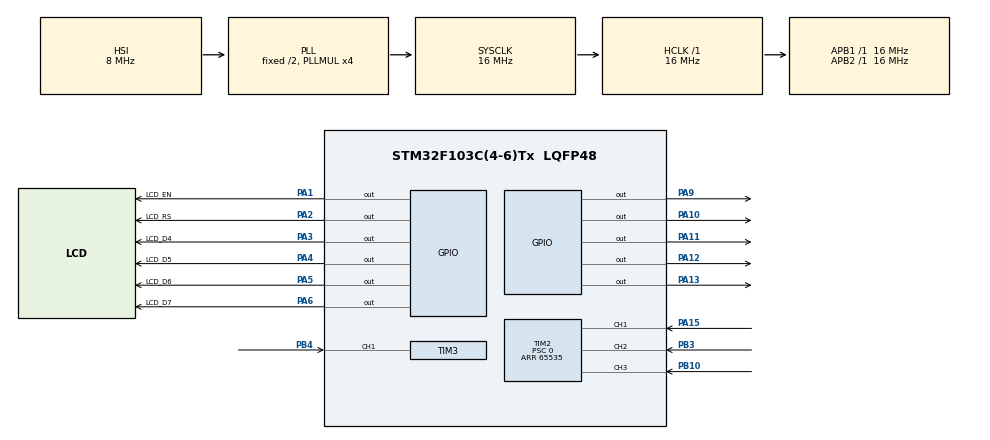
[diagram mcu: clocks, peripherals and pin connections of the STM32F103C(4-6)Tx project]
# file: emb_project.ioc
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Mcu.Family=STM32F1
Mcu.Name=STM32F103C(4-6)Tx
Mcu.Package=LQFP48
NVIC.PriorityGroup=NVIC_PRIORITYGROUP_4
NVIC.TIM2_IRQn=true\:0\:0\:false\:false\:true\:true\:true\:true
NVIC.TIM3_IRQn=true\:0\:0\:false\:false\:true\:true\:true\:true
PA1.GPIO_Label=LCD_EN
PA1.Signal=GPIO_Output
PA10.Signal=GPIO_Output
PA11.Signal=GPIO_Output
PA12.Signal=GPIO_Output
PA13.Signal=GPIO_Output
PA15.Signal=S_TIM2_CH1_ETR
PA2.GPIO_Label=LCD_RS
PA2.Signal=GPIO_Output
PA3.GPIO_Label=LCD_D4
PA3.Signal=GPIO_Output
PA4.GPIO_Label=LCD_D5
PA4.Signal=GPIO_Output
PA5.GPIO_Label=LCD_D6
PA5.Signal=GPIO_Output
PA6.GPIO_Label=LCD_D7
PA6.Signal=GPIO_Output
PA9.Signal=GPIO_Output
PB10.Signal=S_TIM2_CH3
PB3.Signal=S_TIM2_CH2
PB4.Signal=S_TIM3_CH1
PD0-OSC_IN.Mode=HSE-External-Oscillator
PD0-OSC_IN.Signal=RCC_OSC_IN
PD1-OSC_OUT.Mode=HSE-External-Oscillator
PD1-OSC_OUT.Signal=RCC_OSC_OUT
ProjectManager.HeapSize=0x200
ProjectManager.StackSize=0x400
ProjectManager.TargetToolchain=MDK-ARM V5.32
RCC.AHBFreq_Value=16000000
RCC.APB1Freq_Value=16000000
RCC.APB1TimFreq_Value=16000000
RCC.APB2Freq_Value=16000000
RCC.APB2TimFreq_Value=16000000
RCC.HCLKFreq_Value=16000000
RCC.PLLMUL=RCC_PLL_MUL4
RCC.SYSCLKFreq_VALUE=16000000
RCC.SYSCLKSource=RCC_SYSCLKSOURCE_PLLCLK
RCC.USBFreq_Value=16000000
SH.S_TIM2_CH1_ETR.0=TIM2_CH1,Input_Capture1_from_TI1
SH.S_TIM2_CH2.0=TIM2_CH2,Input_Capture2_from_TI2
SH.S_TIM2_CH3.0=TIM2_CH3,Input_Capture3_from_TI3
SH.S_TIM3_CH1.0=TIM3_CH1,Input_Capture1_from_TI1
TIM2.Channel-Input_Capture1_from_TI1=TIM_CHANNEL_1
TIM2.Channel-Input_Capture2_from_TI2=TIM_CHANNEL_2
TIM2.Channel-Input_Capture3_from_TI3=TIM_CHANNEL_3
TIM2.Period=65535
TIM2.Prescaler=0
TIM3.Channel-Input_Capture1_from_TI1=TIM_CHANNEL_1
TIM3.Period=5000-1
TIM3.Prescaler=500-1
VP_SYS_VS_ND.Mode=No_Debug
VP_TIM2_VS_ClockSourceINT.Mode=Internal
board=custom

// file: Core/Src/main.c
/* USER CODE BEGIN Header */
/**
  ******************************************************************************
  * @file           : main.c
  * @brief          : Main program body
  ******************************************************************************
  * @attention
  *
  * Copyright (c) 2024 STMicroelectronics.
  * All rights reserved.
  *
  * This software is licensed under terms that can be found in the LICENSE file
  * in the root directory of this software component.
  * If no LICENSE file comes with this software, it is provided AS-IS.
  *
  ******************************************************************************
  */
/* USER CODE END Header */
#include "main.h"

/* USER CODE BEGIN Includes */
#include "LCD.h"
#include <stdio.h>
/* USER CODE END Includes */

TIM_HandleTypeDef htim2;
TIM_HandleTypeDef htim3;

void SystemClock_Config(void);
static void MX_GPIO_Init(void);
static void MX_TIM2_Init(void);
static void MX_TIM3_Init(void);

/* USER CODE BEGIN 0 */

// Defining pins and ports for three ultrasonic sensors and one led pin

#define TRIG_PIN1    GPIO_PIN_10
#define TRIG_PORT1   GPIOA
#define ECHO_PIN1    GPIO_PIN_15
#define ECHO_PORT1   GPIOA

#define TRIG_PIN2    GPIO_PIN_11
#define TRIG_PORT2   GPIOA
#define ECHO_PIN2    GPIO_PIN_3
#define ECHO_PORT2   GPIOB

#define TRIG_PIN3    GPIO_PIN_12
#define TRIG_PORT3   GPIOA
#define ECHO_PIN3    GPIO_PIN_10
#define ECHO_PORT3   GPIOB

#define LED_PIN   GPIO_PIN_13
#define LED_PORT  GPIOA

// Sending trigger pulses to three ultrasonic sensors

void sendTriggerPulse1() {
    HAL_GPIO_WritePin(TRIG_PORT1, TRIG_PIN1, GPIO_PIN_SET);
    HAL_Delay(10);
    HAL_GPIO_WritePin(TRIG_PORT1, TRIG_PIN1, GPIO_PIN_RESET);
}

void sendTriggerPulse2() {
    HAL_Delay(10);
    HAL_GPIO_WritePin(TRIG_PORT2, TRIG_PIN2, GPIO_PIN_SET);
    HAL_Delay(10);
    HAL_GPIO_WritePin(TRIG_PORT2, TRIG_PIN2, GPIO_PIN_RESET);
}

void sendTriggerPulse3() {
    HAL_Delay(10);
    HAL_GPIO_WritePin(TRIG_PORT3, TRIG_PIN3, GPIO_PIN_SET);
    HAL_Delay(10);
    HAL_GPIO_WritePin(TRIG_PORT3, TRIG_PIN3, GPIO_PIN_RESET);
}
void updateLCD(int distance1, int distance2, int distance3)
{

}

// Initializing variables

int frontSensorDistance=0;
int frontRightSensorDistance=0;
int frontLeftSensorDistance=0;

int stopped=0;

float pulse=0;
char msg[20];

/* USER CODE END 0 */

int main(void)
{

  /* MCU Configuration--------------------------------------------------------*/

  /* Reset of all peripherals, Initializes the Flash interface and the Systick. */
  HAL_Init();

  /* Configure the system clock */
  SystemClock_Config();

  /* Initialize all configured peripherals */
  MX_GPIO_Init();
  MX_TIM2_Init();
  MX_TIM3_Init();
  /* USER CODE BEGIN 2 */

	// Initializing lcd and timers
	lcd_init(_LCD_4BIT, _LCD_FONT_5x8, _LCD_2LINE);
	HAL_TIM_Base_Start_IT(&htim2); //pocetak timera2
	HAL_TIM_Base_Start_IT(&htim3); //pocetak timera3

  /* USER CODE END 2 */

  /* Infinite loop */
  /* USER CODE BEGIN WHILE */
  while (1)
  {
		HAL_Delay(10);

		//Sending trigger pulses to ultrasonic sensors
		sendTriggerPulse1();
		while (!HAL_GPIO_ReadPin(ECHO_PORT1, ECHO_PIN1)) {}
		float startTime1 = HAL_GetTick();
		while (HAL_GPIO_ReadPin(ECHO_PORT1, ECHO_PIN1)) {}
		float endTime1 = HAL_GetTick();

		sendTriggerPulse2();
		while (!HAL_GPIO_ReadPin(ECHO_PORT2, ECHO_PIN2)) {}
		float startTime2 = HAL_GetTick();
		while (HAL_GPIO_ReadPin(ECHO_PORT2, ECHO_PIN2)) {}
		float endTime2 = HAL_GetTick();

		sendTriggerPulse3();
		while (!HAL_GPIO_ReadPin(ECHO_PORT3, ECHO_PIN3)) {}
		float startTime3 = HAL_GetTick();
		while (HAL_GPIO_ReadPin(ECHO_PORT3, ECHO_PIN3)) {}
		float endTime3 = HAL_GetTick();

		// Calculating distances from the measured time.
		frontSensorDistance=endTime1-startTime1;
		frontLeftSensorDistance=endTime2-startTime2;
		frontRightSensorDistance=endTime3-startTime3;

		if(frontSensorDistance < 10){
			lcd_clear();
			sprintf(msg, "     Prepreka");
			lcd_print(0,0,msg);
		}
		else if (frontRightSensorDistance <= 5) {
        lcd_clear();
				sprintf(msg, "     Prepreka");
				lcd_print(0,0,msg);
    }
		else if (frontLeftSensorDistance <= 5) {
				lcd_clear();
				sprintf(msg, "     Prepreka");
				lcd_print(0,0,msg);
    }
		else{
			lcd_clear();
			sprintf(msg, "     Cisto");
			lcd_print(0,0,msg);
		}

    /* USER CODE END WHILE */

  }
}

void SystemClock_Config(void)
{
  RCC_OscInitTypeDef RCC_OscInitStruct = {0};
  RCC_ClkInitTypeDef RCC_ClkInitStruct = {0};

  /** Initializes the RCC Oscillators according to the specified parameters
  * in the RCC_OscInitTypeDef structure.
  */
  RCC_OscInitStruct.OscillatorType = RCC_OSCILLATORTYPE_HSI;
  RCC_OscInitStruct.HSIState = RCC_HSI_ON;
  RCC_OscInitStruct.HSICalibrationValue = RCC_HSICALIBRATION_DEFAULT;
  RCC_OscInitStruct.PLL.PLLState = RCC_PLL_ON;
  RCC_OscInitStruct.PLL.PLLSource = RCC_PLLSOURCE_HSI_DIV2;
  RCC_OscInitStruct.PLL.PLLMUL = RCC_PLL_MUL4;
  if (HAL_RCC_OscConfig(&RCC_OscInitStruct) != HAL_OK)
  {
    Error_Handler();
  }

  /** Initializes the CPU, AHB and APB buses clocks
  */
  RCC_ClkInitStruct.ClockType = RCC_CLOCKTYPE_HCLK|RCC_CLOCKTYPE_SYSCLK
                              |RCC_CLOCKTYPE_PCLK1|RCC_CLOCKTYPE_PCLK2;
  RCC_ClkInitStruct.SYSCLKSource = RCC_SYSCLKSOURCE_PLLCLK;
  RCC_ClkInitStruct.AHBCLKDivider = RCC_SYSCLK_DIV1;
  RCC_ClkInitStruct.APB1CLKDivider = RCC_HCLK_DIV1;
  RCC_ClkInitStruct.APB2CLKDivider = RCC_HCLK_DIV1;

  if (HAL_RCC_ClockConfig(&RCC_ClkInitStruct, FLASH_LATENCY_0) != HAL_OK)
  {
    Error_Handler();
  }
}

static void MX_TIM2_Init(void)
{

  TIM_ClockConfigTypeDef sClockSourceConfig = {0};
  TIM_MasterConfigTypeDef sMasterConfig = {0};
  TIM_IC_InitTypeDef sConfigIC = {0};

  htim2.Instance = TIM2;
  htim2.Init.Prescaler = 0;
  htim2.Init.CounterMode = TIM_COUNTERMODE_UP;
  htim2.Init.Period = 65535;
  htim2.Init.ClockDivision = TIM_CLOCKDIVISION_DIV1;
  htim2.Init.AutoReloadPreload = TIM_AUTORELOAD_PRELOAD_DISABLE;
  if (HAL_TIM_Base_Init(&htim2) != HAL_OK)
  {
    Error_Handler();
  }
  sClockSourceConfig.ClockSource = TIM_CLOCKSOURCE_INTERNAL;
  if (HAL_TIM_ConfigClockSource(&htim2, &sClockSourceConfig) != HAL_OK)
  {
    Error_Handler();
  }
  if (HAL_TIM_IC_Init(&htim2) != HAL_OK)
  {
    Error_Handler();
  }
  sMasterConfig.MasterOutputTrigger = TIM_TRGO_RESET;
  sMasterConfig.MasterSlaveMode = TIM_MASTERSLAVEMODE_DISABLE;
  if (HAL_TIMEx_MasterConfigSynchronization(&htim2, &sMasterConfig) != HAL_OK)
  {
    Error_Handler();
  }
  sConfigIC.ICPolarity = TIM_INPUTCHANNELPOLARITY_RISING;
  sConfigIC.ICSelection = TIM_ICSELECTION_DIRECTTI;
  sConfigIC.ICPrescaler = TIM_ICPSC_DIV1;
  sConfigIC.ICFilter = 0;
  if (HAL_TIM_IC_ConfigChannel(&htim2, &sConfigIC, TIM_CHANNEL_1) != HAL_OK)
  {
    Error_Handler();
  }
  if (HAL_TIM_IC_ConfigChannel(&htim2, &sConfigIC, TIM_CHANNEL_2) != HAL_OK)
  {
    Error_Handler();
  }
  if (HAL_TIM_IC_ConfigChannel(&htim2, &sConfigIC, TIM_CHANNEL_3) != HAL_OK)
  {
    Error_Handler();
  }

}

static void MX_TIM3_Init(void)
{

  TIM_MasterConfigTypeDef sMasterConfig = {0};
  TIM_IC_InitTypeDef sConfigIC = {0};

  htim3.Instance = TIM3;
  htim3.Init.Prescaler = 500-1;
  htim3.Init.CounterMode = TIM_COUNTERMODE_UP;
  htim3.Init.Period = 5000-1;
  htim3.Init.ClockDivision = TIM_CLOCKDIVISION_DIV1;
  htim3.Init.AutoReloadPreload = TIM_AUTORELOAD_PRELOAD_DISABLE;
  if (HAL_TIM_IC_Init(&htim3) != HAL_OK)
  {
    Error_Handler();
  }
  sMasterConfig.MasterOutputTrigger = TIM_TRGO_RESET;
  sMasterConfig.MasterSlaveMode = TIM_MASTERSLAVEMODE_DISABLE;
  if (HAL_TIMEx_MasterConfigSynchronization(&htim3, &sMasterConfig) != HAL_OK)
  {
    Error_Handler();
  }
  sConfigIC.ICPolarity = TIM_INPUTCHANNELPOLARITY_RISING;
  sConfigIC.ICSelection = TIM_ICSELECTION_DIRECTTI;
  sConfigIC.ICPrescaler = TIM_ICPSC_DIV1;
  sConfigIC.ICFilter = 0;
  if (HAL_TIM_IC_ConfigChannel(&htim3, &sConfigIC, TIM_CHANNEL_1) != HAL_OK)
  {
    Error_Handler();
  }

}

static void MX_GPIO_Init(void)
{
  GPIO_InitTypeDef GPIO_InitStruct = {0};

  /* GPIO Ports Clock Enable */
  __HAL_RCC_GPIOD_CLK_ENABLE();
  __HAL_RCC_GPIOA_CLK_ENABLE();
  __HAL_RCC_GPIOB_CLK_ENABLE();

  /*Configure GPIO pin Output Level */
  HAL_GPIO_WritePin(GPIOA, LCD_EN_Pin|LCD_RS_Pin|LCD_D4_Pin|LCD_D5_Pin
                          |LCD_D6_Pin|LCD_D7_Pin|GPIO_PIN_9|GPIO_PIN_10
                          |GPIO_PIN_11|GPIO_PIN_12|GPIO_PIN_13, GPIO_PIN_RESET);

  /*Configure GPIO pins : LCD_EN_Pin LCD_RS_Pin LCD_D4_Pin LCD_D5_Pin
                           LCD_D6_Pin LCD_D7_Pin PA9 PA10
                           PA11 PA12 PA13 */
  GPIO_InitStruct.Pin = LCD_EN_Pin|LCD_RS_Pin|LCD_D4_Pin|LCD_D5_Pin
                          |LCD_D6_Pin|LCD_D7_Pin|GPIO_PIN_9|GPIO_PIN_10
                          |GPIO_PIN_11|GPIO_PIN_12|GPIO_PIN_13;
  GPIO_InitStruct.Mode = GPIO_MODE_OUTPUT_PP;
  GPIO_InitStruct.Pull = GPIO_NOPULL;
  GPIO_InitStruct.Speed = GPIO_SPEED_FREQ_LOW;
  HAL_GPIO_Init(GPIOA, &GPIO_InitStruct);

}

/* USER CODE BEGIN 4 */

void HAL_TIM_PeriodElapsedCallback(TIM_HandleTypeDef* htim)
{
	if (htim->Instance == TIM2) {
    HAL_IncTick();
	}

	if (htim->Instance == TIM3){
		if (frontSensorDistance < 10 || frontRightSensorDistance<=5 || frontLeftSensorDistance <= 5) {
        HAL_GPIO_WritePin(LED_PORT, LED_PIN, GPIO_PIN_SET);
				stopped=1;
		} else {
				HAL_GPIO_WritePin(LED_PORT, LED_PIN, GPIO_PIN_RESET);
				stopped=0;
		}
	}
}
/* USER CODE END 4 */

void Error_Handler(void)
{
  __disable_irq();
  while (1)
  {
  }
}
